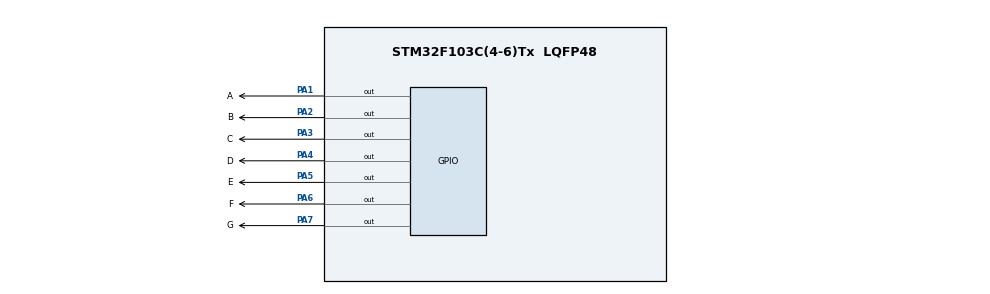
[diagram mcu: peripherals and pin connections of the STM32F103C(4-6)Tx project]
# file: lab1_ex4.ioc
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Mcu.Family=STM32F1
Mcu.Name=STM32F103C(4-6)Tx
Mcu.Package=LQFP48
NVIC.PriorityGroup=NVIC_PRIORITYGROUP_4
PA1.GPIO_Label=A
PA1.Signal=GPIO_Output
PA2.GPIO_Label=B
PA2.Signal=GPIO_Output
PA3.GPIO_Label=C
PA3.Signal=GPIO_Output
PA4.GPIO_Label=D
PA4.Signal=GPIO_Output
PA5.GPIO_Label=E
PA5.Signal=GPIO_Output
PA6.GPIO_Label=F
PA6.Signal=GPIO_Output
PA7.GPIO_Label=G
PA7.Signal=GPIO_Output
ProjectManager.HeapSize=0x200
ProjectManager.StackSize=0x400
ProjectManager.TargetToolchain=STM32CubeIDE
RCC.APB1Freq_Value=8000000
RCC.APB2Freq_Value=8000000
VP_SYS_VS_ND.Mode=No_Debug
board=custom

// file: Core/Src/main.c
/* USER CODE BEGIN Header */
/**
  ******************************************************************************
  * @file           : main.c
  * @brief          : Main program body
  ******************************************************************************
  * @attention
  *
  * <h2><center>&copy; Copyright (c) 2023 STMicroelectronics.
  * All rights reserved.</center></h2>
  *
  * This software component is licensed by ST under BSD 3-Clause license,
  * the "License"; You may not use this file except in compliance with the
  * License. You may obtain a copy of the License at:
  *                        opensource.org/licenses/BSD-3-Clause
  *
  ******************************************************************************
  */
/* USER CODE END Header */
#include "main.h"

void SystemClock_Config(void);
static void MX_GPIO_Init(void);

/* USER CODE BEGIN 0 */
void reset7SEG()
{
	HAL_GPIO_WritePin(A_GPIO_Port, A_Pin, SET);
	HAL_GPIO_WritePin(B_GPIO_Port, B_Pin, SET);
	HAL_GPIO_WritePin(C_GPIO_Port, C_Pin, SET);
	HAL_GPIO_WritePin(D_GPIO_Port, D_Pin, SET);
	HAL_GPIO_WritePin(E_GPIO_Port, E_Pin, SET);
	HAL_GPIO_WritePin(F_GPIO_Port, F_Pin, SET);
	HAL_GPIO_WritePin(G_GPIO_Port, G_Pin, SET);
}
void display7SEG(int num)
{
	switch (num)
	{
	case 0:
		HAL_GPIO_WritePin(A_GPIO_Port, A_Pin, RESET);
		HAL_GPIO_WritePin(B_GPIO_Port, B_Pin, RESET);
		HAL_GPIO_WritePin(C_GPIO_Port, C_Pin, RESET);
		HAL_GPIO_WritePin(D_GPIO_Port, D_Pin, RESET);
		HAL_GPIO_WritePin(E_GPIO_Port, E_Pin, RESET);
		HAL_GPIO_WritePin(F_GPIO_Port, F_Pin, RESET);
		HAL_GPIO_WritePin(G_GPIO_Port, G_Pin, SET);
		break;
	case 1:
		HAL_GPIO_WritePin(A_GPIO_Port, A_Pin, SET);
		HAL_GPIO_WritePin(B_GPIO_Port, B_Pin, RESET);
		HAL_GPIO_WritePin(C_GPIO_Port, C_Pin, RESET);
		HAL_GPIO_WritePin(D_GPIO_Port, D_Pin, SET);
		HAL_GPIO_WritePin(E_GPIO_Port, E_Pin, SET);
		HAL_GPIO_WritePin(F_GPIO_Port, F_Pin, SET);
		HAL_GPIO_WritePin(G_GPIO_Port, G_Pin, SET);
		break;
	case 2:
		HAL_GPIO_WritePin(A_GPIO_Port, A_Pin, RESET);
		HAL_GPIO_WritePin(B_GPIO_Port, B_Pin, RESET);
		HAL_GPIO_WritePin(C_GPIO_Port, C_Pin, SET);
		HAL_GPIO_WritePin(D_GPIO_Port, D_Pin, RESET);
		HAL_GPIO_WritePin(E_GPIO_Port, E_Pin, RESET);
		HAL_GPIO_WritePin(F_GPIO_Port, F_Pin, SET);
		HAL_GPIO_WritePin(G_GPIO_Port, G_Pin, RESET);
		break;
	case 3:
		HAL_GPIO_WritePin(A_GPIO_Port, A_Pin, RESET);
		HAL_GPIO_WritePin(B_GPIO_Port, B_Pin, RESET);
		HAL_GPIO_WritePin(C_GPIO_Port, C_Pin, RESET);
		HAL_GPIO_WritePin(D_GPIO_Port, D_Pin, RESET);
		HAL_GPIO_WritePin(E_GPIO_Port, E_Pin, SET);
		HAL_GPIO_WritePin(F_GPIO_Port, F_Pin, SET);
		HAL_GPIO_WritePin(G_GPIO_Port, G_Pin, RESET);
		break;
	case 4:
		HAL_GPIO_WritePin(A_GPIO_Port, A_Pin, SET);
		HAL_GPIO_WritePin(B_GPIO_Port, B_Pin, RESET);
		HAL_GPIO_WritePin(C_GPIO_Port, C_Pin, RESET);
		HAL_GPIO_WritePin(D_GPIO_Port, D_Pin, SET);
		HAL_GPIO_WritePin(E_GPIO_Port, E_Pin, SET);
		HAL_GPIO_WritePin(F_GPIO_Port, F_Pin, RESET);
		HAL_GPIO_WritePin(G_GPIO_Port, G_Pin, RESET);
		break;
	case 5:
		HAL_GPIO_WritePin(A_GPIO_Port, A_Pin, RESET);
		HAL_GPIO_WritePin(B_GPIO_Port, B_Pin, SET);
		HAL_GPIO_WritePin(C_GPIO_Port, C_Pin, RESET);
		HAL_GPIO_WritePin(D_GPIO_Port, D_Pin, RESET);
		HAL_GPIO_WritePin(E_GPIO_Port, E_Pin, SET);
		HAL_GPIO_WritePin(F_GPIO_Port, F_Pin, RESET);
		HAL_GPIO_WritePin(G_GPIO_Port, G_Pin, RESET);
		break;
	case 6:
		HAL_GPIO_WritePin(A_GPIO_Port, A_Pin, RESET);
		HAL_GPIO_WritePin(B_GPIO_Port, B_Pin, SET);
		HAL_GPIO_WritePin(C_GPIO_Port, C_Pin, RESET);
		HAL_GPIO_WritePin(D_GPIO_Port, D_Pin, RESET);
		HAL_GPIO_WritePin(E_GPIO_Port, E_Pin, RESET);
		HAL_GPIO_WritePin(F_GPIO_Port, F_Pin, RESET);
		HAL_GPIO_WritePin(G_GPIO_Port, G_Pin, RESET);
		break;
	case 7:
		HAL_GPIO_WritePin(A_GPIO_Port, A_Pin, RESET);
		HAL_GPIO_WritePin(B_GPIO_Port, B_Pin, RESET);
		HAL_GPIO_WritePin(C_GPIO_Port, C_Pin, RESET);
		HAL_GPIO_WritePin(D_GPIO_Port, D_Pin, SET);
		HAL_GPIO_WritePin(E_GPIO_Port, E_Pin, SET);
		HAL_GPIO_WritePin(F_GPIO_Port, F_Pin, SET);
		HAL_GPIO_WritePin(G_GPIO_Port, G_Pin, SET);
		break;
	case 8:
		HAL_GPIO_WritePin(A_GPIO_Port, A_Pin, RESET);
		HAL_GPIO_WritePin(B_GPIO_Port, B_Pin, RESET);
		HAL_GPIO_WritePin(C_GPIO_Port, C_Pin, RESET);
		HAL_GPIO_WritePin(D_GPIO_Port, D_Pin, RESET);
		HAL_GPIO_WritePin(E_GPIO_Port, E_Pin, RESET);
		HAL_GPIO_WritePin(F_GPIO_Port, F_Pin, RESET);
		HAL_GPIO_WritePin(G_GPIO_Port, G_Pin, RESET);
		break;
	case 9:
		HAL_GPIO_WritePin(A_GPIO_Port, A_Pin, RESET);
		HAL_GPIO_WritePin(B_GPIO_Port, B_Pin, RESET);
		HAL_GPIO_WritePin(C_GPIO_Port, C_Pin, RESET);
		HAL_GPIO_WritePin(D_GPIO_Port, D_Pin, RESET);
		HAL_GPIO_WritePin(E_GPIO_Port, E_Pin, SET);
		HAL_GPIO_WritePin(F_GPIO_Port, F_Pin, RESET);
		HAL_GPIO_WritePin(G_GPIO_Port, G_Pin, RESET);
	}
}
/* USER CODE END 0 */

int main(void)
{

  /* MCU Configuration--------------------------------------------------------*/

  /* Reset of all peripherals, Initializes the Flash interface and the Systick. */
  HAL_Init();

  /* Configure the system clock */
  SystemClock_Config();

  /* Initialize all configured peripherals */
  MX_GPIO_Init();

  /* Infinite loop */
  /* USER CODE BEGIN WHILE */
  int counter = 0;
  while (1)
  {
	  if (counter >= 10)
		  counter = 0;
	  display7SEG(counter);
	  counter++;
    /* USER CODE END WHILE */
	  HAL_Delay(1000);
  }
}

void SystemClock_Config(void)
{
  RCC_OscInitTypeDef RCC_OscInitStruct = {0};
  RCC_ClkInitTypeDef RCC_ClkInitStruct = {0};

  /** Initializes the RCC Oscillators according to the specified parameters
  * in the RCC_OscInitTypeDef structure.
  */
  RCC_OscInitStruct.OscillatorType = RCC_OSCILLATORTYPE_HSI;
  RCC_OscInitStruct.HSIState = RCC_HSI_ON;
  RCC_OscInitStruct.HSICalibrationValue = RCC_HSICALIBRATION_DEFAULT;
  RCC_OscInitStruct.PLL.PLLState = RCC_PLL_NONE;
  if (HAL_RCC_OscConfig(&RCC_OscInitStruct) != HAL_OK)
  {
    Error_Handler();
  }
  /** Initializes the CPU, AHB and APB buses clocks
  */
  RCC_ClkInitStruct.ClockType = RCC_CLOCKTYPE_HCLK|RCC_CLOCKTYPE_SYSCLK
                              |RCC_CLOCKTYPE_PCLK1|RCC_CLOCKTYPE_PCLK2;
  RCC_ClkInitStruct.SYSCLKSource = RCC_SYSCLKSOURCE_HSI;
  RCC_ClkInitStruct.AHBCLKDivider = RCC_SYSCLK_DIV1;
  RCC_ClkInitStruct.APB1CLKDivider = RCC_HCLK_DIV1;
  RCC_ClkInitStruct.APB2CLKDivider = RCC_HCLK_DIV1;

  if (HAL_RCC_ClockConfig(&RCC_ClkInitStruct, FLASH_LATENCY_0) != HAL_OK)
  {
    Error_Handler();
  }
}

static void MX_GPIO_Init(void)
{
  GPIO_InitTypeDef GPIO_InitStruct = {0};

  /* GPIO Ports Clock Enable */
  __HAL_RCC_GPIOA_CLK_ENABLE();

  /*Configure GPIO pin Output Level */
  HAL_GPIO_WritePin(GPIOA, A_Pin|B_Pin|C_Pin|D_Pin
                          |E_Pin|F_Pin|G_Pin, GPIO_PIN_RESET);

  /*Configure GPIO pins : A_Pin B_Pin C_Pin D_Pin
                           E_Pin F_Pin G_Pin */
  GPIO_InitStruct.Pin = A_Pin|B_Pin|C_Pin|D_Pin
                          |E_Pin|F_Pin|G_Pin;
  GPIO_InitStruct.Mode = GPIO_MODE_OUTPUT_PP;
  GPIO_InitStruct.Pull = GPIO_NOPULL;
  GPIO_InitStruct.Speed = GPIO_SPEED_FREQ_LOW;
  HAL_GPIO_Init(GPIOA, &GPIO_InitStruct);

}

void Error_Handler(void)
{
  __disable_irq();
  while (1)
  {
  }
}

/************************ (C) COPYRIGHT STMicroelectronics *****END OF FILE****/
